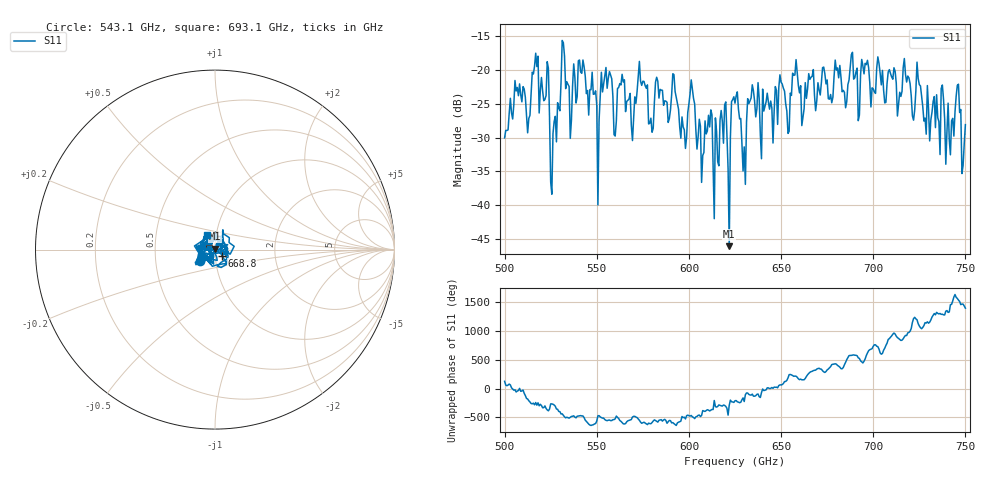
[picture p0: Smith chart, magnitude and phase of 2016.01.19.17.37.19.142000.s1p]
!Created with skrf (http://scikit-rf.org).
# GHz S RI R 50.0
!freq ReS11 ImS11
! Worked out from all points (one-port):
!   401 points, 500 GHz to 750 GHz, reference 50 ohm
!   lowest |S11| = -46.1 dB at 621.9 GHz (marker M1), VSWR 1.01, Z = 50.2 + j0.469 ohm
!   |S11| at or under -10 dB: start of sweep to end of sweep
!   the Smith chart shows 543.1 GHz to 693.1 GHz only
!   S11 on the Smith chart (normalised r, x): 543.1 GHz: 0.84, -0.11; 668.8 GHz: 1.08, -0.07; 693.1 GHz: 0.90, +0.15
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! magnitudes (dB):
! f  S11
! 500 GHz  -30.0
! 506.9 GHz  -22.6
! 513.1 GHz  -27.2
! 516.9 GHz  -17.5
! 523.1 GHz  -18.7
! 526.2 GHz  -29.4
! 531.2 GHz  -15.6
! 535.6 GHz  -30.1
! 543.1 GHz  -19.5
! 550.6 GHz  -40.0
! 553.8 GHz  -22.0
! 560 GHz  -29.8
! 562.5 GHz  -22.0
! 593.8 GHz  -25.0
! 601.9 GHz  -22.8
! 614.4 GHz  -27.1
! 618.8 GHz  -30.8
! 621.9 GHz  -46.1
! 625 GHz  -24.9
! 630 GHz  -31.4
! 633.1 GHz  -24.6
! 656.2 GHz  -20.5
! 668.8 GHz  -26.0
! 687.5 GHz  -19.7
! 693.1 GHz  -20.7
! 718.8 GHz  -20.9
! 746.2 GHz  -22.1
! 750 GHz  -28.1
